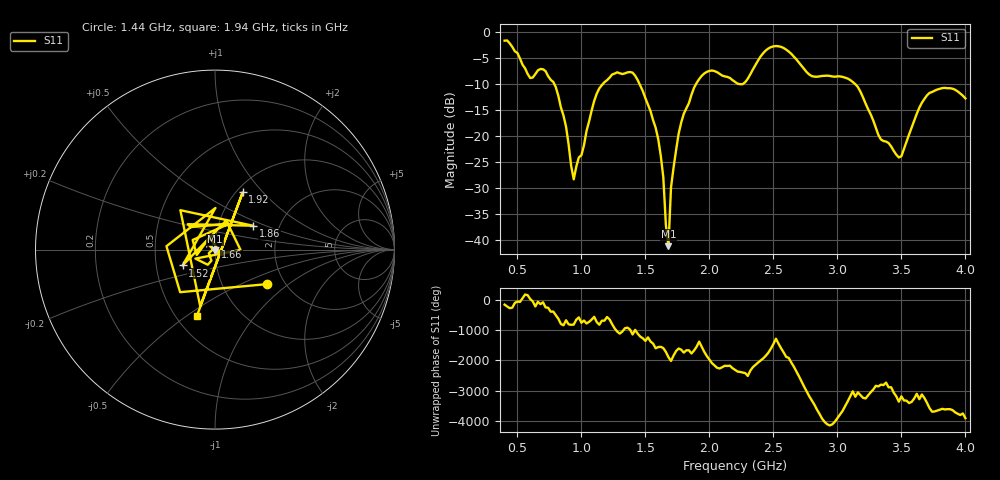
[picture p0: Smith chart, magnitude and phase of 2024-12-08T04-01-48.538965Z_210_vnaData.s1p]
!Created with skrf (http://scikit-rf.org).
# Hz S RI R 50.0
!freq ReS11 ImS11
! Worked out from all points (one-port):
!   181 points, 400 MHz to 4 GHz, reference 50 ohm
!   lowest |S11| = -41.3 dB at 1.68 GHz (marker M1), VSWR 1.02, Z = 50 - j0.864 ohm
!   |S11| at or under -10 dB: 788.9 MHz to 1.166 GHz (377.2 MHz wide, 38.6 % of centre); 1.455 GHz to 1.895 GHz (439.9 MHz wide, 26.3 % of centre); 3.141 GHz to end of sweep
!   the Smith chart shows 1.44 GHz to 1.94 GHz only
!   S11 on the Smith chart (normalised r, x): 1.44 GHz: 1.62, -0.71; 1.52 GHz: 0.68, -0.13; 1.66 GHz: 1.00, +0.03; 1.86 GHz: 1.47, +0.42; 1.92 GHz: 1.07, +0.78; 1.94 GHz: 0.64, -0.55
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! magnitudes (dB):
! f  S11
! 400 MHz  -1.6
! 600 MHz  -8.8
! 720 MHz  -7.5
! 860 MHz  -16.0
! 940 MHz  -28.4
! 1.12 GHz  -11.8
! 1.3 GHz  -7.9
! 1.44 GHz  -9.2
! 1.52 GHz  -13.9
! 1.62 GHz  -23.8
! 1.64 GHz  -28.0
! 1.66 GHz  -37.2
! 1.68 GHz  -41.3
! 1.7 GHz  -29.9
! 1.76 GHz  -19.5
! 1.86 GHz  -12.0
! 1.92 GHz  -9.0
! 1.94 GHz  -8.4
! 2.2 GHz  -9.5
! 2.48 GHz  -2.8
! 2.66 GHz  -4.7
! 2.8 GHz  -8.4
! 3.1 GHz  -9.2
! 3.34 GHz  -20.7
! 3.48 GHz  -24.1
! 3.56 GHz  -19.7
! 3.72 GHz  -11.7
! 4 GHz  -12.7
